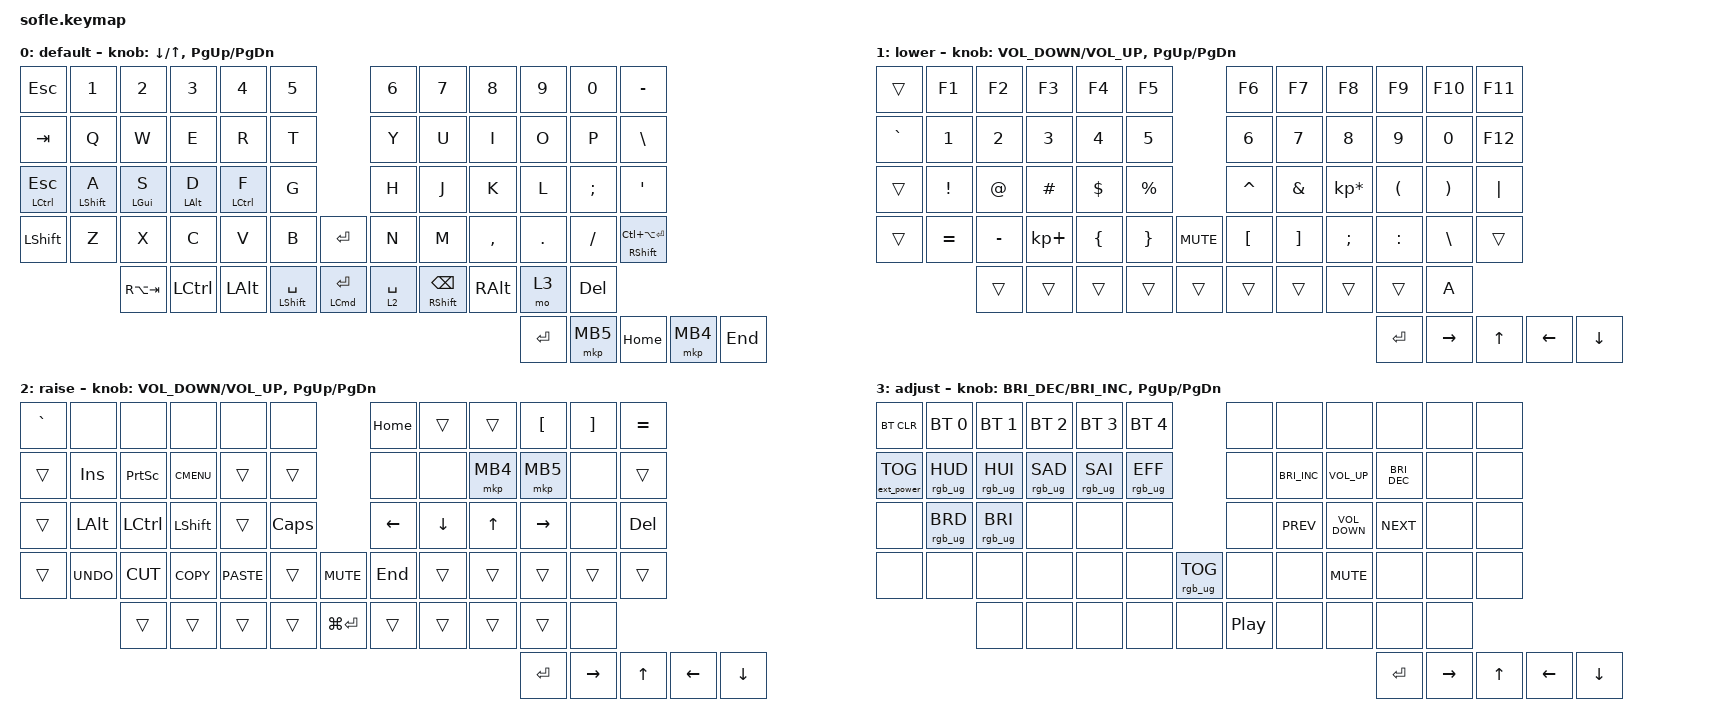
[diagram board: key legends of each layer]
/*
 * Copyright (c) 2020 The ZMK Contributors
 *
 * SPDX-License-Identifier: MIT
 */

#include <behaviors.dtsi>
#include <dt-bindings/zmk/bt.h>
#include <dt-bindings/zmk/ext_power.h>
#include <dt-bindings/zmk/keys.h>
#include <dt-bindings/zmk/rgb.h>
#include <dt-bindings/zmk/pointing.h>

#define BASE 0
#define LOWER 1
#define RAISE 2
#define ADJUST 3

/ {
    behaviors {
        lh_pht: left_positional_hold_tap {
            compatible = "zmk,behavior-hold-tap";
            #binding-cells = <2>;
            flavor = "tap-unless-interrupted";
            tapping-term-ms = <100>;                        // <---[[produces tap if held longer than tapping-term-ms]]
            quick-tap-ms = <200>;
            bindings = <&kp>, <&kp>;
            hold-trigger-key-positions = <5 6 7 8 9 10>;    // <---[[right-hand keys]]
        };
    };

    behaviors {
        rh_pht: right_positional_hold_tap {
            compatible = "zmk,behavior-hold-tap";
            #binding-cells = <2>;
            flavor = "tap-unless-interrupted";
            tapping-term-ms = <100>;                        // <---[[produces tap if held longer than tapping-term-ms]]
            quick-tap-ms = <200>;
            bindings = <&kp>, <&kp>;
            hold-trigger-key-positions = <0 1 2 3 4>;    // <---[[right-hand keys]]
        };
    };
    // Activate ADJUST layer by pressing raise and lower

    conditional_layers {
        compatible = "zmk,conditional-layers";
    };

    keymap {
        compatible = "zmk,keymap";

        default_layer {
            label = "default";

            // ------------------------------------------------------------------------------------------------------------
            // |   `   |  1  |  2  |  3   |  4   |  5   |                   |  6   |  7    |  8    |  9   |   0   |       |
            // |  ESC  |  Q  |  W  |  E   |  R   |  T   |                   |  Y   |  U    |  I    |  O   |   P   | BKSPC |
            // |  TAB  |  A  |  S  |  D   |  F   |  G   |                   |  H   |  J    |  K    |  L   |   ;   |   '   |
            // | SHIFT |  Z  |  X  |  C   |  V   |  B   |  MUTE  |  |       |  N   |  M    |  ,    |  .   |   /   | SHIFT |
            //               | GUI | ALT  | CTRL | LOWER|  ENTER |  | SPACE | RAISE| CTRL  | ALT   | GUI  |

            bindings = <
&kp ESC                      &kp N1  &kp N2       &kp N3     &kp N4        &kp N5                                                       &kp N6                     &kp N7  &kp N8     &kp N9      &kp N0     &kp MINUS
&kp TAB                      &kp Q   &kp W        &kp E      &kp R         &kp T                                                        &kp Y                      &kp U   &kp I      &kp O       &kp P      &kp BACKSLASH
&mt LEFT_CONTROL ESC         &lh_pht LEFT_SHIFT A   &lh_pht LGUI S        &lh_pht LALT D      &lh_pht LCTRL F         &kp G             &kp H                      &kp J   &kp K      &kp L       &kp SEMI   &kp SQT
&kp LEFT_SHIFT 		     &kp Z   &kp X        &kp C      &kp V         &kp B                 &kp ENTER                              &kp N                      &kp M   &kp COMMA  &kp PERIOD  &kp SLASH  &mt RIGHT_SHIFT LC(LA(ENTER))
                                     &kp RA(TAB)  &kp LCTRL  &kp LEFT_ALT  &mt LEFT_SHIFT SPACE  &mt LEFT_COMMAND ENTER    &lt 2 SPACE  &mt RIGHT_SHIFT BACKSPACE  &kp RIGHT_ALT  &mo 3      &kp DELETE
                                                                                                                           &kp ENTER &mkp MB5 &kp HOME &mkp MB4 &kp END
            >;

            sensor-bindings =
                <&inc_dec_kp DOWN UP>,
                <&inc_dec_kp PG_UP PG_DN>;
        };

        lower_layer {
            label = "lower";

            // TODO: Some binds are waiting for shifted keycode support.
            // ------------------------------------------------------------------------------------------------------------
            // |       |  F1 |  F2 |  F3  |  F4  |  F5  |                   |  F6  |  F7   |  F8   |  F9  |  F10  |  F11  |
            // |   `   |  1  |  2  |  3   |  4   |  5   |                   |  6   |  7    |  8    |  9   |   0   |  F12  |
            // |       |  !  |  @  |  #   |  $   |  %   |                   |  ^   |  &    |  *    |  (   |   )   |   |   |
            // |       |  =  |  -  |  +   |  {   |  }   |        |  |       |  [   |  ]    |  ;    |  :   |   \   |       |
            //               |     |      |      |      |        |  |       |      |       |       |      |

            bindings = <
&trans     &kp F1     &kp F2     &kp F3       &kp F4    &kp F5                         &kp F6     &kp F7    &kp F8           &kp F9    &kp F10   &kp F11
&kp GRAVE  &kp N1     &kp N2     &kp N3       &kp N4    &kp N5                         &kp N6     &kp N7    &kp N8           &kp N9    &kp N0    &kp F12
&trans     &kp EXCL   &kp AT     &kp HASH     &kp DLLR  &kp PRCNT                      &kp CARET  &kp AMPS  &kp KP_MULTIPLY  &kp LPAR  &kp RPAR  &kp PIPE
&trans     &kp EQUAL  &kp MINUS  &kp KP_PLUS  &kp LBRC  &kp RBRC   &kp C_MUTE          &kp LBKT   &kp RBKT   &kp SEMI  &kp COLON        &kp BSLH  &trans   
                      &trans     &trans       &trans    &trans     &trans    &trans    &trans     &trans    &trans           &kp A
                                                                                                                           &kp ENTER &kp RIGHT &kp UP &kp LEFT &kp DOWN
            >;

            sensor-bindings =
                <&inc_dec_kp C_VOLUME_DOWN C_VOLUME_UP>,
                <&inc_dec_kp PG_UP PG_DN>;
        };

        raise_layer {
            label = "raise";

            // ------------------------------------------------------------------------------------------------------------
            // | BTCLR | BT1  | BT2  |  BT3  |  BT4  |  BT5 |                |      |      |       |      |       |       |
            // |       | INS  | PSCR | GUI   |       |      |                | PGUP |      |   ^   |      |       |       |
            // |       | ALT  | CTRL | SHIFT |       | CAPS |                | PGDN |   <- |   v   |  ->  |  DEL  | BKSPC |
            // |       | UNDO | CUT  | COPY  | PASTE |      |      |  |      |      |      |       |      |       |       |
            //                |      |       |       |      |      |  |      |      |      |       |      |

            bindings = <
&kp GRAVE  &none       &none      &none        &none        &none                           &kp HOME    &trans    &trans    &kp LEFT_BRACKET  &kp RIGHT_BRACKET  &kp EQUAL
&trans     &kp INS     &kp PSCRN  &kp K_CMENU  &trans       &trans                          &none       &none     &mkp MB4  &mkp MB5          &none              &trans
&trans     &kp LALT    &kp LCTRL  &kp LSHFT    &trans       &kp CLCK                        &kp LEFT    &kp DOWN  &kp UP    &kp RIGHT         &none              &kp DEL
&trans     &kp K_UNDO  &kp K_CUT  &kp K_COPY   &kp K_PASTE  &trans    &kp K_MUTE            &kp END     &trans    &trans    &trans            &trans             &trans
                       &trans     &trans       &trans       &trans    &kp LG(ENTER)         &trans  &trans      &trans    &trans    &none
                                                                                                                           &kp ENTER &kp RIGHT &kp UP &kp LEFT &kp DOWN
            >;

            sensor-bindings =
                <&inc_dec_kp C_VOLUME_DOWN C_VOLUME_UP>,
                <&inc_dec_kp PG_UP PG_DN>;
        };

        adjust_layer {
            // ----------------------------------------------------------------------------------------------------------------------------
            // | BTCLR  |  BT1    |  BT2    |   BT3   |   BT4   |   BT5   |                  |      |      |       |      |       |       |
            // | EXTPWR | RGB_HUD | RGB_HUI | RGB_SAD | RGB_SAI | RGB_EFF |                  |      |      |       |      |       |       |
            // |        | RGB_BRD | RGB_BRI |         |         |         |                  |      |      |       |      |       |       |
            // |        |         |         |         |         |         | RGB_TOG | |      |      |      |       |      |       |       |
            //                    |         |         |         |         |         | |      |      |      |       |      |

            label = "adjust";
            bindings = <
&bt BT_CLR         &bt BT_SEL 0     &bt BT_SEL 1     &bt BT_SEL 2     &bt BT_SEL 3     &bt BT_SEL 4                                          &none  &none       &none  &none       &none  &none
&ext_power EP_TOG  &rgb_ug RGB_HUD  &rgb_ug RGB_HUI  &rgb_ug RGB_SAD  &rgb_ug RGB_SAI  &rgb_ug RGB_EFF                                       &none  &kp C_BRIGHTNESS_INC &kp C_VOLUME_UP  &kp C_BRIGHTNESS_DEC       &none  &none
&none              &rgb_ug RGB_BRD  &rgb_ug RGB_BRI  &none            &none            &none                                                 &none  &kp C_PREV  &kp C_VOLUME_DOWN  &kp C_NEXT &none  &none
&none              &none            &none            &none            &none            &none            &rgb_ug RGB_TOG                      &none  &none       &kp C_MUTE         &none     &none  &none
                                    &none            &none            &none            &none            &none              &kp C_PLAY_PAUSE  &none  &none       &none  &none
                                                                                                                           &kp ENTER &kp RIGHT &kp UP &kp LEFT &kp DOWN
            >;

            sensor-bindings =
                <&inc_dec_kp C_BRIGHTNESS_DEC C_BRIGHTNESS_INC>,
                <&inc_dec_kp PG_UP PG_DN>;
        };
    };
};
